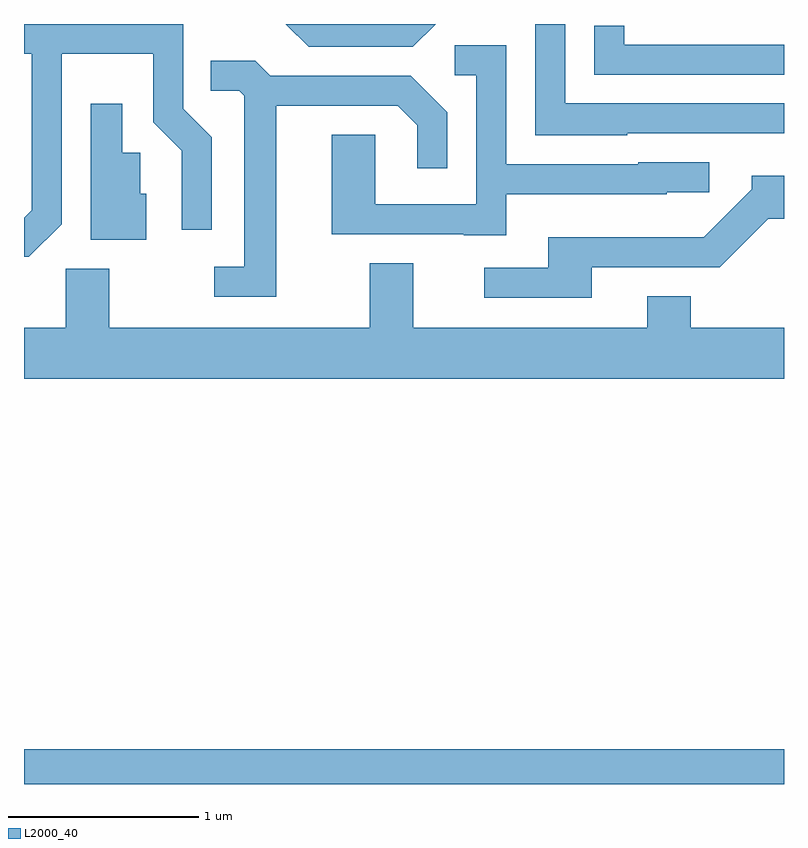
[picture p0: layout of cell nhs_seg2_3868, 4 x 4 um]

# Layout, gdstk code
import gdstk
lib = gdstk.Library(unit=1e-6, precision=1e-09)
def R(c, l, rs):  # rectangles x0, y0, x1, y1
    for r in rs: c.add(gdstk.rectangle(r[:2], r[2:], *l))
def P(c, l, *ps):  # polygons
    for p in ps: c.add(gdstk.Polygon(p, *l))
L2000_40 = (2000, 40)

nhs_seg2_3868 = lib.new_cell('nhs_seg2_3868')
R(nhs_seg2_3868, L2000_40, [(299.611,981.802,303.611,981.984)])
P(nhs_seg2_3868, L2000_40, [(299.809,984.749),(299.809,985.646),(300.291,985.646),(300.291,985.284),(300.441,985.134),(300.441,984.718),(300.599,984.718),(300.599,985.207),(300.449,985.357),(300.449,985.802),(299.611,985.802),(299.611,985.646),(299.651,985.646),(299.651,984.822),(299.611,984.782),(299.611,984.576),(299.637,984.576)],
  [(301.778,985.802),(300.988,985.802),(301.109,985.681),(301.657,985.681)],
  [(302.785,985.226),(303.611,985.226),(303.611,985.384),(302.459,985.384),(302.459,985.802),(302.301,985.802),(302.301,985.216),(302.785,985.216)],
  [(303.611,985.694),(302.769,985.694),(302.769,985.793),(302.611,985.793),(302.611,985.536),(303.611,985.536)],
  [(302.149,984.906),(302.995,984.906),(302.995,984.916),(303.218,984.916),(303.218,985.074),(302.845,985.074),(302.845,985.064),(302.149,985.064),(302.149,985.689),(301.878,985.689),(301.878,985.531),(301.991,985.531),(301.991,984.854),(301.459,984.854),(301.459,985.219),(301.231,985.219),(301.231,984.696),(301.925,984.696),(301.925,984.691),(302.149,984.691)],
  [(300.939,985.371),(301.579,985.371),(301.681,985.269),(301.681,985.043),(301.839,985.043),(301.839,985.337),(301.647,985.529),(300.907,985.529),(300.827,985.609),(300.593,985.609),(300.593,985.451),(300.744,985.451),(300.771,985.424),(300.771,984.524),(300.613,984.524),(300.613,984.366),(300.939,984.366)],
  [(300.254,984.909),(300.224,984.909),(300.224,985.124),(300.129,985.124),(300.129,985.383),(299.961,985.383),(299.961,984.666),(300.254,984.666)],
  [(302.599,984.521),(303.272,984.521),(303.527,984.776),(303.611,984.776),(303.611,985.004),(303.441,985.004),(303.441,984.932),(303.189,984.679),(302.371,984.679),(302.371,984.519),(302.033,984.519),(302.033,984.361),(302.599,984.361)],
  [(303.611,984.204),(303.119,984.204),(303.119,984.369),(302.891,984.369),(302.891,984.204),(301.659,984.204),(301.659,984.544),(301.431,984.544),(301.431,984.204),(300.059,984.204),(300.059,984.514),(299.831,984.514),(299.831,984.204),(299.611,984.204),(299.611,983.936),(303.611,983.936)])

lib.write_gds('nhs_seg2_3868.gds')
